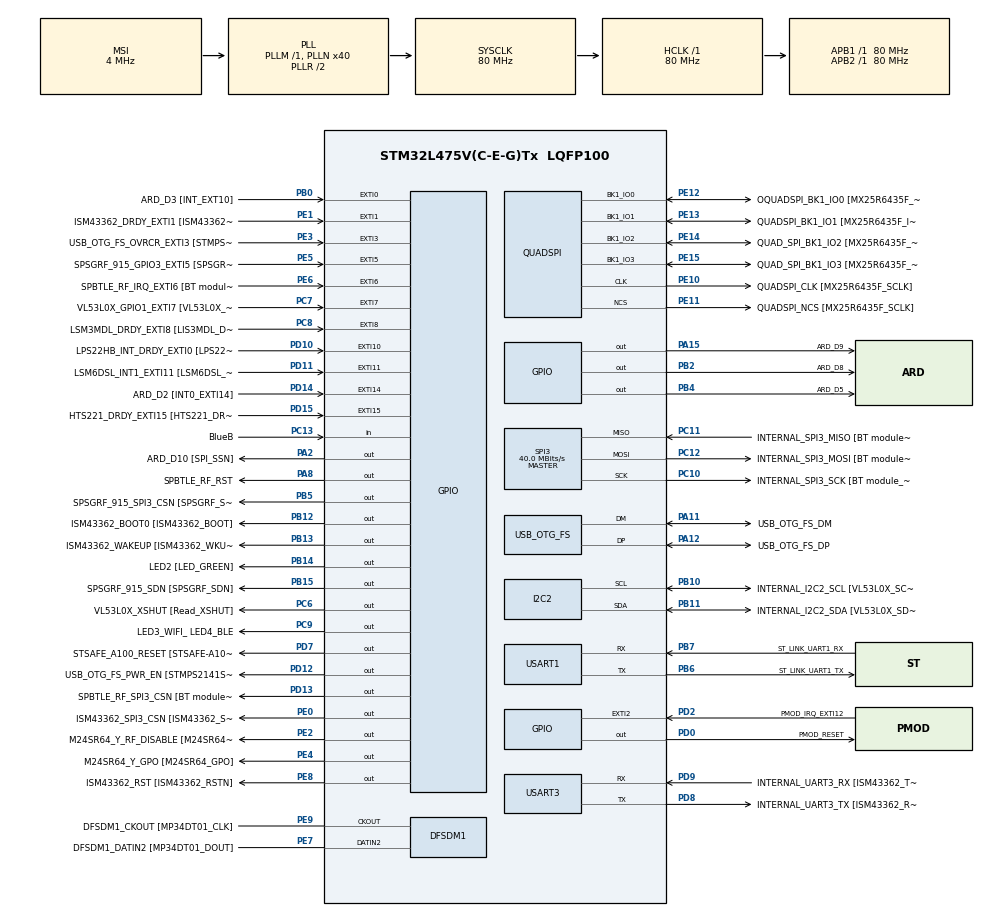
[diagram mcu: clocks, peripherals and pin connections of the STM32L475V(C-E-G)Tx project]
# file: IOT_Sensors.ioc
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FREERTOS.Tasks01=defaultTask,0,128,StartDefaultTask,Default,NULL,Dynamic,NULL,NULL
FREERTOS.configUSE_NEWLIB_REENTRANT=1
I2C2.Timing=0x10909CEC
Mcu.Family=STM32L4
Mcu.Name=STM32L475V(C-E-G)Tx
Mcu.Package=LQFP100
NVIC.EXTI15_10_IRQn=true\:5\:0\:false\:false\:true\:true\:true\:true\:true
NVIC.EXTI9_5_IRQn=true\:5\:0\:false\:false\:true\:true\:true\:true\:true
NVIC.PriorityGroup=NVIC_PRIORITYGROUP_4
NVIC.TIM1_UP_TIM16_IRQn=true\:15\:0\:false\:false\:true\:false\:false\:true\:true
NVIC.TimeBase=TIM1_UP_TIM16_IRQn
NVIC.TimeBaseIP=TIM1
PA0.GPIO_Label=ARD_D1 [UART4_TX]
PA0.Signal=UART4_TX
PA1.GPIO_Label=ARD_D0 [UART4_RX]
PA1.Signal=UART4_RX
PA10.GPIO_Label=USB_OTG_FS_ID
PA10.Signal=USB_OTG_FS_ID
PA11.GPIO_Label=USB_OTG_FS_DM
PA11.Mode=Device_Only
PA11.Signal=USB_OTG_FS_DM
PA12.GPIO_Label=USB_OTG_FS_DP
PA12.Mode=Device_Only
PA12.Signal=USB_OTG_FS_DP
PA13\ (JTMS-SWDIO).GPIO_Label=SYS_JTMS_SWDIO
PA13\ (JTMS-SWDIO).Mode=Serial_Wire
PA13\ (JTMS-SWDIO).Signal=SYS_JTMS-SWDIO
PA14\ (JTCK-SWCLK).GPIO_Label=SYS_JTCK_SWCLK
PA14\ (JTCK-SWCLK).Mode=Serial_Wire
PA14\ (JTCK-SWCLK).Signal=SYS_JTCK-SWCLK
PA15\ (JTDI).GPIO_Label=ARD_D9
PA15\ (JTDI).Signal=GPIO_Output
PA2.GPIO_Label=ARD_D10 [SPI_SSN]
PA2.Signal=GPIO_Output
PA3.GPIO_Label=ARD_D4
PA3.Signal=S_TIM2_CH4
PA4.GPIO_Label=ARD_D7
PA4.Signal=ADCx_IN9
PA5.GPIO_Label=ARD_D13 [SPI1_SCK]
PA5.Signal=SPI1_SCK
PA6.GPIO_Label=ARD_D12 [SPI1_MISO]
PA6.Signal=SPI1_MISO
PA7.GPIO_Label=ARD_D11 [SPI1_MOSI]
PA7.Signal=SPI1_MOSI
PA8.GPIO_Label=SPBTLE_RF_RST
PA8.Signal=GPIO_Output
PA9.GPIO_Label=USB_OTG_FS_VBUS [STMPS2141STR_OUT]
PA9.Signal=USB_OTG_FS_VBUS
PB0.GPIO_Label=ARD_D3 [INT_EXT10]
PB0.Signal=GPXTI0
PB1.GPIO_Label=ARD_D6 [ADC1_IN6]
PB1.Signal=ADCx_IN16
PB10.GPIO_Label=INTERNAL_I2C2_SCL [VL53L0X_SCL]
PB10.GPIO_Pu=GPIO_PULLUP
PB10.Mode=I2C
PB10.Signal=I2C2_SCL
PB11.GPIO_Label=INTERNAL_I2C2_SDA [VL53L0X_SDA]
PB11.GPIO_Pu=GPIO_PULLUP
PB11.Mode=I2C
PB11.Signal=I2C2_SDA
PB12.GPIO_Label=ISM43362_BOOT0 [ISM43362_BOOT]
PB12.Signal=GPIO_Output
PB13.GPIO_Label=ISM43362_WAKEUP [ISM43362_WKUP]
PB13.Signal=GPIO_Output
PB14.GPIO_Label=LED2 [LED_GREEN]
PB14.PinState=GPIO_PIN_RESET
PB14.Signal=GPIO_Output
PB15.GPIO_Label=SPSGRF_915_SDN [SPSGRF_SDN]
PB15.Signal=GPIO_Output
PB2.GPIO_Label=ARD_D8
PB2.Signal=GPIO_Output
PB3\ (JTDO-TRACESWO).GPIO_Label=SYS_JTD0_SWO
PB3\ (JTDO-TRACESWO).Signal=SYS_JTDO-SWO
PB4\ (NJTRST).GPIO_Label=ARD_D5
PB4\ (NJTRST).Signal=GPIO_Output
PB5.GPIO_Label=SPSGRF_915_SPI3_CSN [SPSGRF_SPI_CS]
PB5.PinState=GPIO_PIN_SET
PB5.Signal=GPIO_Output
PB6.GPIO_Label=ST_LINK_UART1_TX
PB6.Mode=Asynchronous
PB6.Signal=USART1_TX
PB7.GPIO_Label=ST_LINK_UART1_RX
PB7.Mode=Asynchronous
PB7.Signal=USART1_RX
PB8.GPIO_Label=ARD_D15 [I2C1_SCL]
PB8.Signal=I2C1_SCL
PB9.GPIO_Label=ARD_D14 [I2C1_SDA]
PB9.Signal=I2C1_SDA
PC0.GPIO_Label=ARD_A5 [ADC]
PC0.Signal=ADCx_IN1
PC1.GPIO_Label=ARD_A4 [ADC]
PC1.Signal=ADCx_IN2
PC10.GPIO_Label=INTERNAL_SPI3_SCK [BT module_SPI_SCLK] [ISM43362_SCK]
PC10.Mode=Full_Duplex_Master
PC10.Signal=SPI3_SCK
PC11.GPIO_Label=INTERNAL_SPI3_MISO [BT module_SPI_MISO] [ISM43362_MISO]
PC11.Mode=Full_Duplex_Master
PC11.Signal=SPI3_MISO
PC12.GPIO_Label=INTERNAL_SPI3_MOSI [BT module_SPI_MOSI] [ISM43362_MOSI]
PC12.Mode=Full_Duplex_Master
PC12.Signal=SPI3_MOSI
PC13.GPIO_Label=BlueB
PC13.Signal=GPIO_Input
PC14-OSC32_IN\ (PC14).Mode=LSE-External-Oscillator
PC14-OSC32_IN\ (PC14).Signal=RCC_OSC32_IN
PC15-OSC32_OUT\ (PC15).Mode=LSE-External-Oscillator
PC15-OSC32_OUT\ (PC15).Signal=RCC_OSC32_OUT
PC2.GPIO_Label=ARD_A3 [ADC]
PC2.Signal=ADCx_IN3
PC3.GPIO_Label=ARD_A2 [ADC]
PC3.Signal=ADCx_IN4
PC4.GPIO_Label=ARD_A1 [ADC]
PC4.Signal=ADCx_IN13
PC5.GPIO_Label=ARD_A0 [ADC]
PC5.Signal=ADCx_IN14
PC6.GPIO_Label=VL53L0X_XSHUT [Read_XSHUT]
PC6.Signal=GPIO_Output
PC7.GPIO_Label=VL53L0X_GPIO1_EXTI7 [VL53L0X_GPIO1]
PC7.Signal=GPXTI7
PC8.GPIO_Label=LSM3MDL_DRDY_EXTI8 [LIS3MDL_DRDY]
PC8.Signal=GPXTI8
PC9.GPIO_Label=LED3_WIFI_ LED4_BLE
PC9.Signal=GPIO_Output
PD0.GPIO_Label=PMOD_RESET
PD0.Signal=GPIO_Output
PD1.GPIO_Label=PMOD_SPI2_SCK
PD1.Signal=SPI2_SCK
PD10.GPIO_Label=LPS22HB_INT_DRDY_EXTI0 [LPS22HB_INT_DRDY] 
PD10.Signal=GPXTI10
PD11.GPIO_Label=LSM6DSL_INT1_EXTI11 [LSM6DSL_INT1]
PD11.Signal=GPXTI11
PD12.GPIO_Label=USB_OTG_FS_PWR_EN [STMPS2141STR_EN]
PD12.Signal=GPIO_Output
PD13.GPIO_Label=SPBTLE_RF_SPI3_CSN [BT module_SPI_CS]
PD13.PinState=GPIO_PIN_SET
PD13.Signal=GPIO_Output
PD14.GPIO_Label=ARD_D2 [INT0_EXTI14]
PD14.Signal=GPXTI14
PD15.GPIO_Label=HTS221_DRDY_EXTI15 [HTS221_DRDY]
PD15.Signal=GPXTI15
PD2.GPIO_Label=PMOD_IRQ_EXTI12
PD2.Signal=GPXTI2
PD3.GPIO_Label=PMOD_UART2_CTS
PD3.Signal=USART2_CTS
PD4.GPIO_Label=PMOD_UART2_RTS
PD4.Signal=USART2_RTS
PD5.GPIO_Label=PMOD_UART2_TX
PD5.Signal=USART2_TX
PD6.GPIO_Label=PMOD_UART2_RX
PD6.Signal=USART2_RX
PD7.GPIO_Label=STSAFE_A100_RESET [STSAFE-A100_RESET]
PD7.Signal=GPIO_Output
PD8.GPIO_Label=INTERNAL_UART3_TX [ISM43362_RX]
PD8.Mode=Asynchronous
PD8.Signal=USART3_TX
PD9.GPIO_Label=INTERNAL_UART3_RX [ISM43362_TX]
PD9.Mode=Asynchronous
PD9.Signal=USART3_RX
PE0.GPIO_Label=ISM43362_SPI3_CSN [ISM43362_SSN]
PE0.PinState=GPIO_PIN_SET
PE0.Signal=GPIO_Output
PE1.GPIO_Label=ISM43362_DRDY_EXTI1 [ISM43362_DATARDY]
PE1.Signal=GPXTI1
PE10.GPIO_Label=QUADSPI_CLK [MX25R6435F_SCLK]
PE10.Mode=Single Bank
PE10.Signal=QUADSPI_CLK
PE11.GPIO_Label=QUADSPI_NCS [MX25R6435F_SCLK]
PE11.Mode=Single Bank
PE11.Signal=QUADSPI_NCS
PE12.GPIO_Label=OQUADSPI_BK1_IO0 [MX25R6435F_IO0]
PE12.Mode=Single Bank
PE12.Signal=QUADSPI_BK1_IO0
PE13.GPIO_Label=QUADSPI_BK1_IO1 [MX25R6435F_IO1]
PE13.Mode=Single Bank
PE13.Signal=QUADSPI_BK1_IO1
PE14.GPIO_Label=QUAD_SPI_BK1_IO2 [MX25R6435F_IO2]
PE14.Mode=Single Bank
PE14.Signal=QUADSPI_BK1_IO2
PE15.GPIO_Label=QUAD_SPI_BK1_IO3 [MX25R6435F_IO3]
PE15.Mode=Single Bank
PE15.Signal=QUADSPI_BK1_IO3
PE2.GPIO_Label=M24SR64_Y_RF_DISABLE [M24SR64_RFDIS]
PE2.Signal=GPIO_Output
PE3.GPIO_Label=USB_OTG_FS_OVRCR_EXTI3 [STMPS2141STR_FAULT]
PE3.Signal=GPXTI3
PE4.GPIO_Label=M24SR64_Y_GPO [M24SR64_GPO]
PE4.Signal=GPIO_Output
PE5.GPIO_Label=SPSGRF_915_GPIO3_EXTI5 [SPSGRF_GPIO_3]
PE5.Signal=GPXTI5
PE6.GPIO_Label=SPBTLE_RF_IRQ_EXTI6 [BT module_SPI_IRQ]
PE6.Signal=GPXTI6
PE7.GPIO_Label=DFSDM1_DATIN2 [MP34DT01_DOUT]
PE7.Signal=S_DATAIN2DFSDM1
PE8.GPIO_Label=ISM43362_RST [ISM43362_RSTN]
PE8.Signal=GPIO_Output
PE9.GPIO_Label=DFSDM1_CKOUT [MP34DT01_CLK]
PE9.Signal=S_CKOUTDFSDM1
ProjectManager.HeapSize=0x200
ProjectManager.StackSize=0x400
ProjectManager.TargetToolchain=STM32CubeIDE
QUADSPI.ClockPrescaler=2
QUADSPI.FifoThreshold=4
QUADSPI.FlashSize=23
QUADSPI.SampleShifting=QSPI_SAMPLE_SHIFTING_HALFCYCLE
RCC.ADCFreq_Value=48000000
RCC.AHBFreq_Value=80000000
RCC.APB1Freq_Value=80000000
RCC.APB1TimFreq_Value=80000000
RCC.APB2Freq_Value=80000000
RCC.APB2TimFreq_Value=80000000
RCC.CortexFreq_Value=80000000
RCC.HCLKFreq_Value=80000000
RCC.HSE_VALUE=8000000
RCC.HSI_VALUE=16000000
RCC.MSI_VALUE=4000000
RCC.PLLN=40
RCC.PLLSAI1N=24
RCC.SYSCLKFreq_VALUE=80000000
RCC.SYSCLKSource=RCC_SYSCLKSOURCE_PLLCLK
RCC.USBFreq_Value=48000000
RCC.VCOOutputFreq_Value=160000000
SH.ADCx_IN1.0=ADC1_IN1
SH.ADCx_IN13.0=ADC1_IN13
SH.ADCx_IN14.0=ADC1_IN14
SH.ADCx_IN16.0=ADC1_IN16
SH.ADCx_IN2.0=ADC1_IN2
SH.ADCx_IN3.0=ADC1_IN3
SH.ADCx_IN4.0=ADC1_IN4
SH.ADCx_IN9.0=ADC1_IN9
SH.S_CKOUTDFSDM1.0=DFSDM1_CKOUT,CKOUT
SH.S_CKOUTDFSDM1.1=DFSDM1_CKOUT,PDM_SPI_Input_from_ch12_and_Internal_Clock
SH.S_DATAIN2DFSDM1.0=DFSDM1_DATIN2,PDM_SPI_Input_from_ch12_and_Internal_Clock
SH.S_TIM2_CH4.0=TIM2_CH4
SPI3.CalculateBaudRate=40.0 MBits/s
SPI3.Direction=SPI_DIRECTION_2LINES
SPI3.Mode=SPI_MODE_MASTER
SPI3.VirtualType=VM_MASTER
USART1.VirtualMode-Asynchronous=VM_ASYNC
USART3.VirtualMode-Asynchronous=VM_ASYNC
USB_OTG_FS.VirtualMode=Device_Only
VP_FREERTOS_VS_CMSIS_V1.Mode=CMSIS_V1
VP_SYS_VS_tim1.Mode=TIM1
board=B-L475E-IOT01A1

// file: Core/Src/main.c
/* USER CODE BEGIN Header */
/**
  ******************************************************************************
  * @file           : main.c
  * @brief          : Main program body
  ******************************************************************************
  * @attention
  *
  * Copyright (c) 2023 STMicroelectronics.
  * All rights reserved.
  *
  * This software is licensed under terms that can be found in the LICENSE file
  * in the root directory of this software component.
  * If no LICENSE file comes with this software, it is provided AS-IS.
  *
  ******************************************************************************
  */
/* USER CODE END Header */
#include "main.h"
#include "cmsis_os.h"

/* USER CODE BEGIN Includes */
#include "stm32l475e_iot01.h"
#include "stm32l475e_iot01_tsensor.h"
#include <math.h>
#include <stdio.h>
/* USER CODE END Includes */

DFSDM_Channel_HandleTypeDef hdfsdm1_channel1;

I2C_HandleTypeDef hi2c2;

QSPI_HandleTypeDef hqspi;

SPI_HandleTypeDef hspi3;

UART_HandleTypeDef huart1;
UART_HandleTypeDef huart3;

PCD_HandleTypeDef hpcd_USB_OTG_FS;

osThreadId defaultTaskHandle;
/* USER CODE BEGIN PV */
float temp_value = 0;
char str_tmp[100] = "";
uint8_t mag1[] = "****** Temperature values measurement ******\n\n\r";
uint8_t mag2[] = "=====> Initialize Temperature sensor HTS221 \r\n";
uint8_t mag3[] = "=====> Temperature sensor HTS221 initialized \r\n";
/* USER CODE END PV */

void SystemClock_Config(void);
static void MX_GPIO_Init(void);
static void MX_DFSDM1_Init(void);
static void MX_I2C2_Init(void);
static void MX_QUADSPI_Init(void);
static void MX_SPI3_Init(void);
static void MX_USART1_UART_Init(void);
static void MX_USART3_UART_Init(void);
static void MX_USB_OTG_FS_PCD_Init(void);
void StartDefaultTask(void const * argument);

int main(void)
{

  /* MCU Configuration--------------------------------------------------------*/

  /* Reset of all peripherals, Initializes the Flash interface and the Systick. */
  HAL_Init();

  /* Configure the system clock */
  SystemClock_Config();

  /* Initialize all configured peripherals */
  MX_GPIO_Init();
  MX_DFSDM1_Init();
  MX_I2C2_Init();
  MX_QUADSPI_Init();
  MX_SPI3_Init();
  MX_USART1_UART_Init();
  MX_USART3_UART_Init();
  MX_USB_OTG_FS_PCD_Init();
  /* USER CODE BEGIN 2 */
  HAL_UART_Transmit(&huart1,mag1,sizeof(mag1),1000);
  HAL_UART_Transmit(&huart1,mag2,sizeof(mag2),1000);
  BSP_TSENSOR_Init();
  HAL_UART_Transmit(&huart1,mag3,sizeof(mag3),1000);
  /* USER CODE END 2 */

  /* Create the thread(s) */
  /* definition and creation of defaultTask */
  osThreadDef(defaultTask, StartDefaultTask, osPriorityNormal, 0, 128);
  defaultTaskHandle = osThreadCreate(osThread(defaultTask), NULL);

  /* Start scheduler */
  osKernelStart();

  /* We should never get here as control is now taken by the scheduler */
  /* Infinite loop */
  while (1)
  {

    /* USER CODE BEGIN 3 */
	  if (HAL_GPIO_ReadPin(BlueB_GPIO_Port, BlueB_Pin) != 0)
	  {
		  temp_value = BSP_TSENSOR_ReadTemp();
		  int tmpInt1 = temp_value;
		  float tmpFrac = temp_value - tmpInt1;
		  int tmpInt2 = trunc(tmpFrac * 100);
		  snprintf(str_tmp,100,"TEMPERATURE = %d.%02d\n\r", tmpInt1, tmpInt2);
		  HAL_UART_Transmit(&huart1,( uint8_t * )str_tmp, sizeof(str_tmp),1000);
		  HAL_Delay(1000);
	  }
	  else
	  {

	  }
  }
  /* USER CODE END 3 */
}

void SystemClock_Config(void)
{
  RCC_OscInitTypeDef RCC_OscInitStruct = {0};
  RCC_ClkInitTypeDef RCC_ClkInitStruct = {0};

  /** Configure the main internal regulator output voltage
  */
  if (HAL_PWREx_ControlVoltageScaling(PWR_REGULATOR_VOLTAGE_SCALE1) != HAL_OK)
  {
    Error_Handler();
  }

  /** Configure LSE Drive Capability
  */
  HAL_PWR_EnableBkUpAccess();
  __HAL_RCC_LSEDRIVE_CONFIG(RCC_LSEDRIVE_LOW);

  /** Initializes the RCC Oscillators according to the specified parameters
  * in the RCC_OscInitTypeDef structure.
  */
  RCC_OscInitStruct.OscillatorType = RCC_OSCILLATORTYPE_LSE|RCC_OSCILLATORTYPE_MSI;
  RCC_OscInitStruct.LSEState = RCC_LSE_ON;
  RCC_OscInitStruct.MSIState = RCC_MSI_ON;
  RCC_OscInitStruct.MSICalibrationValue = 0;
  RCC_OscInitStruct.MSIClockRange = RCC_MSIRANGE_6;
  RCC_OscInitStruct.PLL.PLLState = RCC_PLL_ON;
  RCC_OscInitStruct.PLL.PLLSource = RCC_PLLSOURCE_MSI;
  RCC_OscInitStruct.PLL.PLLM = 1;
  RCC_OscInitStruct.PLL.PLLN = 40;
  RCC_OscInitStruct.PLL.PLLP = RCC_PLLP_DIV7;
  RCC_OscInitStruct.PLL.PLLQ = RCC_PLLQ_DIV2;
  RCC_OscInitStruct.PLL.PLLR = RCC_PLLR_DIV2;
  if (HAL_RCC_OscConfig(&RCC_OscInitStruct) != HAL_OK)
  {
    Error_Handler();
  }

  /** Initializes the CPU, AHB and APB buses clocks
  */
  RCC_ClkInitStruct.ClockType = RCC_CLOCKTYPE_HCLK|RCC_CLOCKTYPE_SYSCLK
                              |RCC_CLOCKTYPE_PCLK1|RCC_CLOCKTYPE_PCLK2;
  RCC_ClkInitStruct.SYSCLKSource = RCC_SYSCLKSOURCE_PLLCLK;
  RCC_ClkInitStruct.AHBCLKDivider = RCC_SYSCLK_DIV1;
  RCC_ClkInitStruct.APB1CLKDivider = RCC_HCLK_DIV1;
  RCC_ClkInitStruct.APB2CLKDivider = RCC_HCLK_DIV1;

  if (HAL_RCC_ClockConfig(&RCC_ClkInitStruct, FLASH_LATENCY_4) != HAL_OK)
  {
    Error_Handler();
  }

  /** Enable MSI Auto calibration
  */
  HAL_RCCEx_EnableMSIPLLMode();
}

static void MX_DFSDM1_Init(void)
{

  hdfsdm1_channel1.Instance = DFSDM1_Channel1;
  hdfsdm1_channel1.Init.OutputClock.Activation = ENABLE;
  hdfsdm1_channel1.Init.OutputClock.Selection = DFSDM_CHANNEL_OUTPUT_CLOCK_SYSTEM;
  hdfsdm1_channel1.Init.OutputClock.Divider = 2;
  hdfsdm1_channel1.Init.Input.Multiplexer = DFSDM_CHANNEL_EXTERNAL_INPUTS;
  hdfsdm1_channel1.Init.Input.DataPacking = DFSDM_CHANNEL_STANDARD_MODE;
  hdfsdm1_channel1.Init.Input.Pins = DFSDM_CHANNEL_FOLLOWING_CHANNEL_PINS;
  hdfsdm1_channel1.Init.SerialInterface.Type = DFSDM_CHANNEL_SPI_RISING;
  hdfsdm1_channel1.Init.SerialInterface.SpiClock = DFSDM_CHANNEL_SPI_CLOCK_INTERNAL;
  hdfsdm1_channel1.Init.Awd.FilterOrder = DFSDM_CHANNEL_FASTSINC_ORDER;
  hdfsdm1_channel1.Init.Awd.Oversampling = 1;
  hdfsdm1_channel1.Init.Offset = 0;
  hdfsdm1_channel1.Init.RightBitShift = 0x00;
  if (HAL_DFSDM_ChannelInit(&hdfsdm1_channel1) != HAL_OK)
  {
    Error_Handler();
  }

}

static void MX_I2C2_Init(void)
{

  hi2c2.Instance = I2C2;
  hi2c2.Init.Timing = 0x10909CEC;
  hi2c2.Init.OwnAddress1 = 0;
  hi2c2.Init.AddressingMode = I2C_ADDRESSINGMODE_7BIT;
  hi2c2.Init.DualAddressMode = I2C_DUALADDRESS_DISABLE;
  hi2c2.Init.OwnAddress2 = 0;
  hi2c2.Init.OwnAddress2Masks = I2C_OA2_NOMASK;
  hi2c2.Init.GeneralCallMode = I2C_GENERALCALL_DISABLE;
  hi2c2.Init.NoStretchMode = I2C_NOSTRETCH_DISABLE;
  if (HAL_I2C_Init(&hi2c2) != HAL_OK)
  {
    Error_Handler();
  }

  /** Configure Analogue filter
  */
  if (HAL_I2CEx_ConfigAnalogFilter(&hi2c2, I2C_ANALOGFILTER_ENABLE) != HAL_OK)
  {
    Error_Handler();
  }

  /** Configure Digital filter
  */
  if (HAL_I2CEx_ConfigDigitalFilter(&hi2c2, 0) != HAL_OK)
  {
    Error_Handler();
  }

}

static void MX_QUADSPI_Init(void)
{

  /* QUADSPI parameter configuration*/
  hqspi.Instance = QUADSPI;
  hqspi.Init.ClockPrescaler = 2;
  hqspi.Init.FifoThreshold = 4;
  hqspi.Init.SampleShifting = QSPI_SAMPLE_SHIFTING_HALFCYCLE;
  hqspi.Init.FlashSize = 23;
  hqspi.Init.ChipSelectHighTime = QSPI_CS_HIGH_TIME_1_CYCLE;
  hqspi.Init.ClockMode = QSPI_CLOCK_MODE_0;
  if (HAL_QSPI_Init(&hqspi) != HAL_OK)
  {
    Error_Handler();
  }

}

static void MX_SPI3_Init(void)
{

  /* SPI3 parameter configuration*/
  hspi3.Instance = SPI3;
  hspi3.Init.Mode = SPI_MODE_MASTER;
  hspi3.Init.Direction = SPI_DIRECTION_2LINES;
  hspi3.Init.DataSize = SPI_DATASIZE_4BIT;
  hspi3.Init.CLKPolarity = SPI_POLARITY_LOW;
  hspi3.Init.CLKPhase = SPI_PHASE_1EDGE;
  hspi3.Init.NSS = SPI_NSS_SOFT;
  hspi3.Init.BaudRatePrescaler = SPI_BAUDRATEPRESCALER_2;
  hspi3.Init.FirstBit = SPI_FIRSTBIT_MSB;
  hspi3.Init.TIMode = SPI_TIMODE_DISABLE;
  hspi3.Init.CRCCalculation = SPI_CRCCALCULATION_DISABLE;
  hspi3.Init.CRCPolynomial = 7;
  hspi3.Init.CRCLength = SPI_CRC_LENGTH_DATASIZE;
  hspi3.Init.NSSPMode = SPI_NSS_PULSE_ENABLE;
  if (HAL_SPI_Init(&hspi3) != HAL_OK)
  {
    Error_Handler();
  }

}

static void MX_USART1_UART_Init(void)
{

  huart1.Instance = USART1;
  huart1.Init.BaudRate = 115200;
  huart1.Init.WordLength = UART_WORDLENGTH_8B;
  huart1.Init.StopBits = UART_STOPBITS_1;
  huart1.Init.Parity = UART_PARITY_NONE;
  huart1.Init.Mode = UART_MODE_TX_RX;
  huart1.Init.HwFlowCtl = UART_HWCONTROL_NONE;
  huart1.Init.OverSampling = UART_OVERSAMPLING_16;
  huart1.Init.OneBitSampling = UART_ONE_BIT_SAMPLE_DISABLE;
  huart1.AdvancedInit.AdvFeatureInit = UART_ADVFEATURE_NO_INIT;
  if (HAL_UART_Init(&huart1) != HAL_OK)
  {
    Error_Handler();
  }

}

static void MX_USART3_UART_Init(void)
{

  huart3.Instance = USART3;
  huart3.Init.BaudRate = 115200;
  huart3.Init.WordLength = UART_WORDLENGTH_8B;
  huart3.Init.StopBits = UART_STOPBITS_1;
  huart3.Init.Parity = UART_PARITY_NONE;
  huart3.Init.Mode = UART_MODE_TX_RX;
  huart3.Init.HwFlowCtl = UART_HWCONTROL_NONE;
  huart3.Init.OverSampling = UART_OVERSAMPLING_16;
  huart3.Init.OneBitSampling = UART_ONE_BIT_SAMPLE_DISABLE;
  huart3.AdvancedInit.AdvFeatureInit = UART_ADVFEATURE_NO_INIT;
  if (HAL_UART_Init(&huart3) != HAL_OK)
  {
    Error_Handler();
  }

}

static void MX_USB_OTG_FS_PCD_Init(void)
{

  hpcd_USB_OTG_FS.Instance = USB_OTG_FS;
  hpcd_USB_OTG_FS.Init.dev_endpoints = 6;
  hpcd_USB_OTG_FS.Init.speed = PCD_SPEED_FULL;
  hpcd_USB_OTG_FS.Init.phy_itface = PCD_PHY_EMBEDDED;
  hpcd_USB_OTG_FS.Init.Sof_enable = DISABLE;
  hpcd_USB_OTG_FS.Init.low_power_enable = DISABLE;
  hpcd_USB_OTG_FS.Init.lpm_enable = DISABLE;
  hpcd_USB_OTG_FS.Init.battery_charging_enable = DISABLE;
  hpcd_USB_OTG_FS.Init.use_dedicated_ep1 = DISABLE;
  hpcd_USB_OTG_FS.Init.vbus_sensing_enable = DISABLE;
  if (HAL_PCD_Init(&hpcd_USB_OTG_FS) != HAL_OK)
  {
    Error_Handler();
  }

}

static void MX_GPIO_Init(void)
{
  GPIO_InitTypeDef GPIO_InitStruct = {0};

  /* GPIO Ports Clock Enable */
  __HAL_RCC_GPIOE_CLK_ENABLE();
  __HAL_RCC_GPIOC_CLK_ENABLE();
  __HAL_RCC_GPIOA_CLK_ENABLE();
  __HAL_RCC_GPIOB_CLK_ENABLE();
  __HAL_RCC_GPIOD_CLK_ENABLE();

  /*Configure GPIO pin Output Level */
  HAL_GPIO_WritePin(GPIOE, M24SR64_Y_RF_DISABLE_Pin|M24SR64_Y_GPO_Pin|ISM43362_RST_Pin, GPIO_PIN_RESET);

  /*Configure GPIO pin Output Level */
  HAL_GPIO_WritePin(GPIOA, ARD_D10_Pin|SPBTLE_RF_RST_Pin|ARD_D9_Pin, GPIO_PIN_RESET);

  /*Configure GPIO pin Output Level */
  HAL_GPIO_WritePin(GPIOB, ARD_D8_Pin|ISM43362_BOOT0_Pin|ISM43362_WAKEUP_Pin|LED2_Pin
                          |SPSGRF_915_SDN_Pin|ARD_D5_Pin, GPIO_PIN_RESET);

  /*Configure GPIO pin Output Level */
  HAL_GPIO_WritePin(GPIOD, USB_OTG_FS_PWR_EN_Pin|PMOD_RESET_Pin|STSAFE_A100_RESET_Pin, GPIO_PIN_RESET);

  /*Configure GPIO pin Output Level */
  HAL_GPIO_WritePin(SPBTLE_RF_SPI3_CSN_GPIO_Port, SPBTLE_RF_SPI3_CSN_Pin, GPIO_PIN_SET);

  /*Configure GPIO pin Output Level */
  HAL_GPIO_WritePin(GPIOC, VL53L0X_XSHUT_Pin|LED3_WIFI__LED4_BLE_Pin, GPIO_PIN_RESET);

  /*Configure GPIO pin Output Level */
  HAL_GPIO_WritePin(SPSGRF_915_SPI3_CSN_GPIO_Port, SPSGRF_915_SPI3_CSN_Pin, GPIO_PIN_SET);

  /*Configure GPIO pin Output Level */
  HAL_GPIO_WritePin(ISM43362_SPI3_CSN_GPIO_Port, ISM43362_SPI3_CSN_Pin, GPIO_PIN_SET);

  /*Configure GPIO pins : M24SR64_Y_RF_DISABLE_Pin M24SR64_Y_GPO_Pin ISM43362_RST_Pin ISM43362_SPI3_CSN_Pin */
  GPIO_InitStruct.Pin = M24SR64_Y_RF_DISABLE_Pin|M24SR64_Y_GPO_Pin|ISM43362_RST_Pin|ISM43362_SPI3_CSN_Pin;
  GPIO_InitStruct.Mode = GPIO_MODE_OUTPUT_PP;
  GPIO_InitStruct.Pull = GPIO_NOPULL;
  GPIO_InitStruct.Speed = GPIO_SPEED_FREQ_LOW;
  HAL_GPIO_Init(GPIOE, &GPIO_InitStruct);

  /*Configure GPIO pins : USB_OTG_FS_OVRCR_EXTI3_Pin SPSGRF_915_GPIO3_EXTI5_Pin SPBTLE_RF_IRQ_EXTI6_Pin ISM43362_DRDY_EXTI1_Pin */
  GPIO_InitStruct.Pin = USB_OTG_FS_OVRCR_EXTI3_Pin|SPSGRF_915_GPIO3_EXTI5_Pin|SPBTLE_RF_IRQ_EXTI6_Pin|ISM43362_DRDY_EXTI1_Pin;
  GPIO_InitStruct.Mode = GPIO_MODE_IT_RISING;
  GPIO_InitStruct.Pull = GPIO_NOPULL;
  HAL_GPIO_Init(GPIOE, &GPIO_InitStruct);

  /*Configure GPIO pin : BlueB_Pin */
  GPIO_InitStruct.Pin = BlueB_Pin;
  GPIO_InitStruct.Mode = GPIO_MODE_INPUT;
  GPIO_InitStruct.Pull = GPIO_NOPULL;
  HAL_GPIO_Init(BlueB_GPIO_Port, &GPIO_InitStruct);

  /*Configure GPIO pins : ARD_A5_Pin ARD_A4_Pin ARD_A3_Pin ARD_A2_Pin
                           ARD_A1_Pin ARD_A0_Pin */
  GPIO_InitStruct.Pin = ARD_A5_Pin|ARD_A4_Pin|ARD_A3_Pin|ARD_A2_Pin
                          |ARD_A1_Pin|ARD_A0_Pin;
  GPIO_InitStruct.Mode = GPIO_MODE_ANALOG_ADC_CONTROL;
  GPIO_InitStruct.Pull = GPIO_NOPULL;
  HAL_GPIO_Init(GPIOC, &GPIO_InitStruct);

  /*Configure GPIO pins : ARD_D1_Pin ARD_D0_Pin */
  GPIO_InitStruct.Pin = ARD_D1_Pin|ARD_D0_Pin;
  GPIO_InitStruct.Mode = GPIO_MODE_AF_PP;
  GPIO_InitStruct.Pull = GPIO_NOPULL;
  GPIO_InitStruct.Speed = GPIO_SPEED_FREQ_VERY_HIGH;
  GPIO_InitStruct.Alternate = GPIO_AF8_UART4;
  HAL_GPIO_Init(GPIOA, &GPIO_InitStruct);

  /*Configure GPIO pins : ARD_D10_Pin SPBTLE_RF_RST_Pin ARD_D9_Pin */
  GPIO_InitStruct.Pin = ARD_D10_Pin|SPBTLE_RF_RST_Pin|ARD_D9_Pin;
  GPIO_InitStruct.Mode = GPIO_MODE_OUTPUT_PP;
  GPIO_InitStruct.Pull = GPIO_NOPULL;
  GPIO_InitStruct.Speed = GPIO_SPEED_FREQ_LOW;
  HAL_GPIO_Init(GPIOA, &GPIO_InitStruct);

  /*Configure GPIO pin : ARD_D4_Pin */
  GPIO_InitStruct.Pin = ARD_D4_Pin;
  GPIO_InitStruct.Mode = GPIO_MODE_AF_PP;
  GPIO_InitStruct.Pull = GPIO_NOPULL;
  GPIO_InitStruct.Speed = GPIO_SPEED_FREQ_LOW;
  GPIO_InitStruct.Alternate = GPIO_AF1_TIM2;
  HAL_GPIO_Init(ARD_D4_GPIO_Port, &GPIO_InitStruct);

  /*Configure GPIO pin : ARD_D7_Pin */
  GPIO_InitStruct.Pin = ARD_D7_Pin;
  GPIO_InitStruct.Mode = GPIO_MODE_ANALOG_ADC_CONTROL;
  GPIO_InitStruct.Pull = GPIO_NOPULL;
  HAL_GPIO_Init(ARD_D7_GPIO_Port, &GPIO_InitStruct);

  /*Configure GPIO pins : ARD_D13_Pin ARD_D12_Pin ARD_D11_Pin */
  GPIO_InitStruct.Pin = ARD_D13_Pin|ARD_D12_Pin|ARD_D11_Pin;
  GPIO_InitStruct.Mode = GPIO_MODE_AF_PP;
  GPIO_InitStruct.Pull = GPIO_NOPULL;
  GPIO_InitStruct.Speed = GPIO_SPEED_FREQ_VERY_HIGH;
  GPIO_InitStruct.Alternate = GPIO_AF5_SPI1;
  HAL_GPIO_Init(GPIOA, &GPIO_InitStruct);

  /*Configure GPIO pin : ARD_D3_Pin */
  GPIO_InitStruct.Pin = ARD_D3_Pin;
  GPIO_InitStruct.Mode = GPIO_MODE_IT_RISING;
  GPIO_InitStruct.Pull = GPIO_NOPULL;
  HAL_GPIO_Init(ARD_D3_GPIO_Port, &GPIO_InitStruct);

  /*Configure GPIO pin : ARD_D6_Pin */
  GPIO_InitStruct.Pin = ARD_D6_Pin;
  GPIO_InitStruct.Mode = GPIO_MODE_ANALOG_ADC_CONTROL;
  GPIO_InitStruct.Pull = GPIO_NOPULL;
  HAL_GPIO_Init(ARD_D6_GPIO_Port, &GPIO_InitStruct);

  /*Configure GPIO pins : ARD_D8_Pin ISM43362_BOOT0_Pin ISM43362_WAKEUP_Pin LED2_Pin
                           SPSGRF_915_SDN_Pin ARD_D5_Pin SPSGRF_915_SPI3_CSN_Pin */
  GPIO_InitStruct.Pin = ARD_D8_Pin|ISM43362_BOOT0_Pin|ISM43362_WAKEUP_Pin|LED2_Pin
                          |SPSGRF_915_SDN_Pin|ARD_D5_Pin|SPSGRF_915_SPI3_CSN_Pin;
  GPIO_InitStruct.Mode = GPIO_MODE_OUTPUT_PP;
  GPIO_InitStruct.Pull = GPIO_NOPULL;
  GPIO_InitStruct.Speed = GPIO_SPEED_FREQ_LOW;
  HAL_GPIO_Init(GPIOB, &GPIO_InitStruct);

  /*Configure GPIO pins : LPS22HB_INT_DRDY_EXTI0_Pin LSM6DSL_INT1_EXTI11_Pin ARD_D2_Pin HTS221_DRDY_EXTI15_Pin
                           PMOD_IRQ_EXTI12_Pin */
  GPIO_InitStruct.Pin = LPS22HB_INT_DRDY_EXTI0_Pin|LSM6DSL_INT1_EXTI11_Pin|ARD_D2_Pin|HTS221_DRDY_EXTI15_Pin
                          |PMOD_IRQ_EXTI12_Pin;
  GPIO_InitStruct.Mode = GPIO_MODE_IT_RISING;
  GPIO_InitStruct.Pull = GPIO_NOPULL;
  HAL_GPIO_Init(GPIOD, &GPIO_InitStruct);

  /*Configure GPIO pins : USB_OTG_FS_PWR_EN_Pin SPBTLE_RF_SPI3_CSN_Pin PMOD_RESET_Pin STSAFE_A100_RESET_Pin */
  GPIO_InitStruct.Pin = USB_OTG_FS_PWR_EN_Pin|SPBTLE_RF_SPI3_CSN_Pin|PMOD_RESET_Pin|STSAFE_A100_RESET_Pin;
  GPIO_InitStruct.Mode = GPIO_MODE_OUTPUT_PP;
  GPIO_InitStruct.Pull = GPIO_NOPULL;
  GPIO_InitStruct.Speed = GPIO_SPEED_FREQ_LOW;
  HAL_GPIO_Init(GPIOD, &GPIO_InitStruct);

  /*Configure GPIO pins : VL53L0X_XSHUT_Pin LED3_WIFI__LED4_BLE_Pin */
  GPIO_InitStruct.Pin = VL53L0X_XSHUT_Pin|LED3_WIFI__LED4_BLE_Pin;
  GPIO_InitStruct.Mode = GPIO_MODE_OUTPUT_PP;
  GPIO_InitStruct.Pull = GPIO_NOPULL;
  GPIO_InitStruct.Speed = GPIO_SPEED_FREQ_LOW;
  HAL_GPIO_Init(GPIOC, &GPIO_InitStruct);

  /*Configure GPIO pins : VL53L0X_GPIO1_EXTI7_Pin LSM3MDL_DRDY_EXTI8_Pin */
  GPIO_InitStruct.Pin = VL53L0X_GPIO1_EXTI7_Pin|LSM3MDL_DRDY_EXTI8_Pin;
  GPIO_InitStruct.Mode = GPIO_MODE_IT_RISING;
  GPIO_InitStruct.Pull = GPIO_NOPULL;
  HAL_GPIO_Init(GPIOC, &GPIO_InitStruct);

  /*Configure GPIO pin : PMOD_SPI2_SCK_Pin */
  GPIO_InitStruct.Pin = PMOD_SPI2_SCK_Pin;
  GPIO_InitStruct.Mode = GPIO_MODE_AF_PP;
  GPIO_InitStruct.Pull = GPIO_NOPULL;
  GPIO_InitStruct.Speed = GPIO_SPEED_FREQ_VERY_HIGH;
  GPIO_InitStruct.Alternate = GPIO_AF5_SPI2;
  HAL_GPIO_Init(PMOD_SPI2_SCK_GPIO_Port, &GPIO_InitStruct);

  /*Configure GPIO pins : PMOD_UART2_CTS_Pin PMOD_UART2_RTS_Pin PMOD_UART2_TX_Pin PMOD_UART2_RX_Pin */
  GPIO_InitStruct.Pin = PMOD_UART2_CTS_Pin|PMOD_UART2_RTS_Pin|PMOD_UART2_TX_Pin|PMOD_UART2_RX_Pin;
  GPIO_InitStruct.Mode = GPIO_MODE_AF_PP;
  GPIO_InitStruct.Pull = GPIO_NOPULL;
  GPIO_InitStruct.Speed = GPIO_SPEED_FREQ_VERY_HIGH;
  GPIO_InitStruct.Alternate = GPIO_AF7_USART2;
  HAL_GPIO_Init(GPIOD, &GPIO_InitStruct);

  /*Configure GPIO pins : ARD_D15_Pin ARD_D14_Pin */
  GPIO_InitStruct.Pin = ARD_D15_Pin|ARD_D14_Pin;
  GPIO_InitStruct.Mode = GPIO_MODE_AF_OD;
  GPIO_InitStruct.Pull = GPIO_NOPULL;
  GPIO_InitStruct.Speed = GPIO_SPEED_FREQ_VERY_HIGH;
  GPIO_InitStruct.Alternate = GPIO_AF4_I2C1;
  HAL_GPIO_Init(GPIOB, &GPIO_InitStruct);

  /* EXTI interrupt init*/
  HAL_NVIC_SetPriority(EXTI9_5_IRQn, 5, 0);
  HAL_NVIC_EnableIRQ(EXTI9_5_IRQn);

  HAL_NVIC_SetPriority(EXTI15_10_IRQn, 5, 0);
  HAL_NVIC_EnableIRQ(EXTI15_10_IRQn);

}

void StartDefaultTask(void const * argument)
{
  for(;;)
  {
    osDelay(1);
  }
}

void HAL_TIM_PeriodElapsedCallback(TIM_HandleTypeDef *htim)
{
  if (htim->Instance == TIM1) {
    HAL_IncTick();
  }
}

void Error_Handler(void)
{
  __disable_irq();
  while (1)
  {
  }
}
